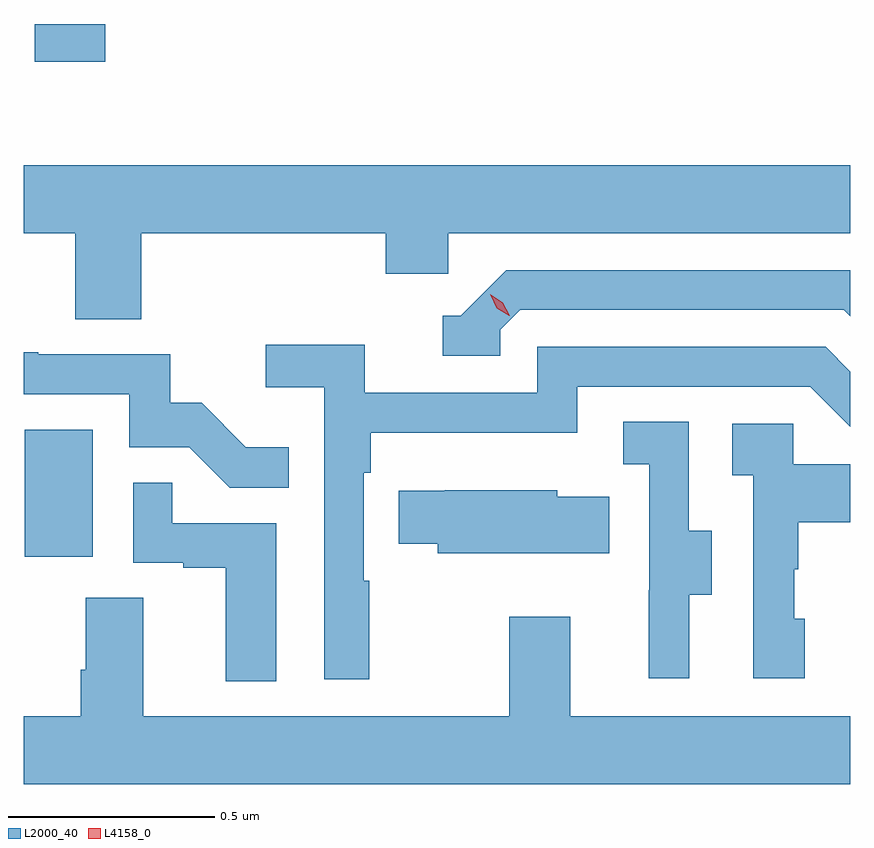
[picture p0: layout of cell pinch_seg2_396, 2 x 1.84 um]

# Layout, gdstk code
import gdstk
lib = gdstk.Library(unit=1e-6, precision=1e-09)
def R(c, l, rs):  # rectangles x0, y0, x1, y1
    for r in rs: c.add(gdstk.rectangle(r[:2], r[2:], *l))
def P(c, l, *ps):  # polygons
    for p in ps: c.add(gdstk.Polygon(p, *l))
L2000_40 = (2000, 40)
L4158_0 = (4158, 0)

pinch_seg2_396 = lib.new_cell('pinch_seg2_396')
R(pinch_seg2_396, L2000_40, [(998.708,620.214,998.872,620.521), (998.732,621.411,998.903,621.502)])
P(pinch_seg2_396, L2000_40, [(998.99,620.996),(999.581,620.996),(999.581,620.898),(999.732,620.898),(999.732,620.996),(1000.705,620.996),(1000.705,621.16),(998.705,621.16),(998.705,620.996),(998.83,620.996),(998.83,620.788),(998.99,620.788)],
  [(999.858,620.763),(999.906,620.811),(1000.689,620.811),(1000.705,620.795),(1000.705,620.907),(999.873,620.907),(999.762,620.796),(999.719,620.796),(999.719,620.7),(999.858,620.7)],
  [(999.541,620.156),(999.528,620.156),(999.528,620.417),(999.545,620.417),(999.545,620.513),(1000.044,620.513),(1000.044,620.625),(1000.608,620.625),(1000.705,620.528),(1000.705,620.661),(1000.645,620.721),(999.948,620.721),(999.948,620.61),(999.53,620.61),(999.53,620.726),(999.291,620.726),(999.291,620.624),(999.432,620.624),(999.432,619.917),(999.541,619.917)],
  [(999.347,620.479),(999.243,620.479),(999.136,620.586),(999.06,620.586),(999.06,620.703),(998.741,620.703),(998.741,620.708),(998.705,620.708),(998.705,620.607),(998.961,620.607),(998.961,620.478),(999.106,620.478),(999.204,620.38),(999.347,620.38)],
  [(1000.315,620.122),(1000.369,620.122),(1000.369,620.277),(1000.314,620.277),(1000.314,620.54),(1000.155,620.54),(1000.155,620.437),(1000.218,620.437),(1000.218,620.133),(1000.217,620.133),(1000.217,619.92),(1000.315,619.92)],
  [(1000.594,620.064),(1000.569,620.064),(1000.569,620.183),(1000.579,620.183),(1000.579,620.297),(1000.705,620.297),(1000.705,620.437),(1000.566,620.437),(1000.566,620.535),(1000.419,620.535),(1000.419,620.411),(1000.47,620.411),(1000.47,619.92),(1000.594,619.92)],
  [(999.316,620.295),(999.065,620.295),(999.065,620.393),(998.97,620.393),(998.97,620.199),(999.091,620.199),(999.091,620.187),(999.194,620.187),(999.194,619.913),(999.316,619.913)],
  [(1000.121,620.359),(999.996,620.359),(999.996,620.374),(999.724,620.374),(999.724,620.373),(999.613,620.373),(999.613,620.245),(999.707,620.245),(999.707,620.222),(1000.121,620.222)],
  [(1000.705,619.828),(1000.027,619.828),(1000.027,620.068),(999.88,620.068),(999.88,619.828),(998.995,619.828),(998.995,620.114),(998.855,620.114),(998.855,619.94),(998.843,619.94),(998.843,619.828),(998.705,619.828),(998.705,619.664),(1000.705,619.664)])
P(pinch_seg2_396, L4158_0, [(999.88,620.796),(999.85,620.815),(999.834,620.848),(999.834,620.848),(999.834,620.848),(999.864,620.828),(999.881,620.796),(999.881,620.796)])

lib.write_gds('pinch_seg2_396.gds')
